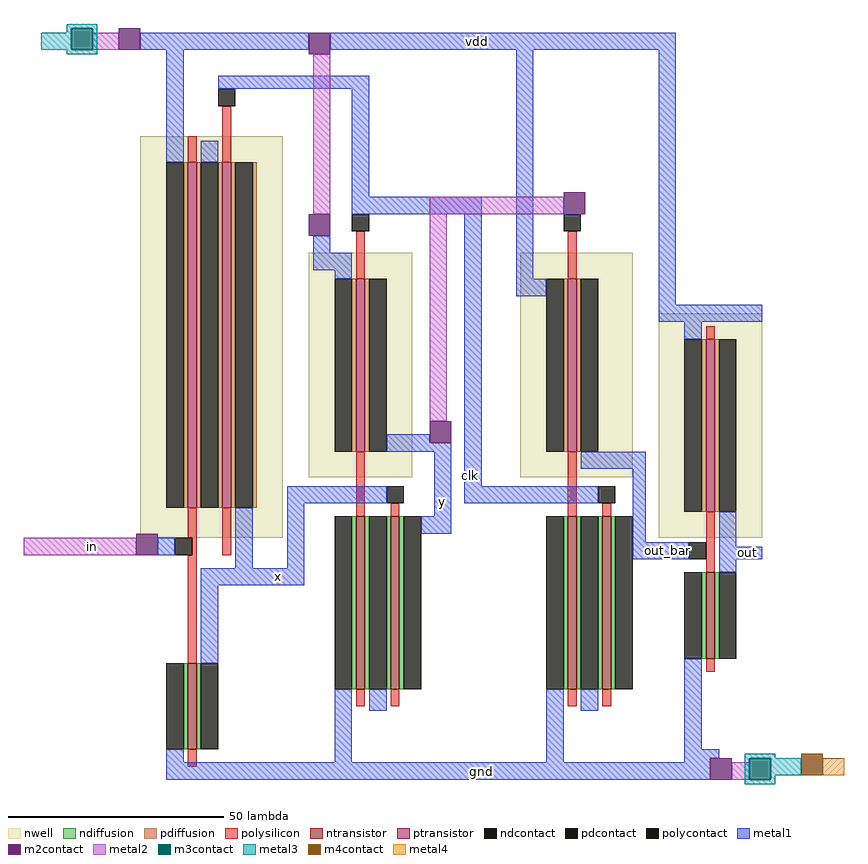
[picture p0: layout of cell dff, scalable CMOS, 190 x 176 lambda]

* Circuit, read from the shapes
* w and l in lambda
.subckt dff clk gnd in out out_bar vdd x y
M1 x in gnd VSUBS nfet w=20 l=2
M2 n1 clk gnd VSUBS nfet w=40 l=2
M3 y x n1 VSUBS nfet w=40 l=2
M4 n2 y gnd VSUBS nfet w=40 l=2
M5 out_bar clk n2 VSUBS nfet w=40 l=2
M6 out out_bar gnd VSUBS nfet w=20 l=2
M7 n3 in vdd n4 pfet w=80 l=2
M8 x clk n3 n4 pfet w=80 l=2
M9 y clk vdd n5 pfet w=40 l=2
M10 out_bar y vdd n6 pfet w=40 l=2
M11 out out_bar vdd n7 pfet w=40 l=2
.ends

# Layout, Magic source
magic
tech scmos
<< nwell >>
rect 18 -34 51 59
rect 57 -20 81 32
rect 106 -20 132 32
rect 138 -34 162 18
<< ntransistor >>
rect 29 -83 31 -63
rect 68 -69 70 -29
rect 76 -69 78 -29
rect 117 -69 119 -29
rect 125 -69 127 -29
rect 149 -62 151 -42
<< ptransistor >>
rect 29 -27 31 53
rect 37 -27 39 53
rect 68 -14 70 26
rect 117 -14 119 26
rect 149 -28 151 12
<< ndiffusion >>
rect 28 -83 29 -63
rect 31 -83 32 -63
rect 67 -69 68 -29
rect 70 -69 71 -29
rect 75 -69 76 -29
rect 78 -69 79 -29
rect 116 -69 117 -29
rect 119 -69 120 -29
rect 124 -69 125 -29
rect 127 -69 128 -29
rect 148 -62 149 -42
rect 151 -62 152 -42
<< pdiffusion >>
rect 28 -27 29 53
rect 31 -27 32 53
rect 36 -27 37 53
rect 39 -27 40 53
rect 44 -27 45 53
rect 67 -14 68 26
rect 70 -14 71 26
rect 116 -14 117 26
rect 119 -14 120 26
rect 148 -28 149 12
rect 151 -28 152 12
<< ndcontact >>
rect 24 -83 28 -63
rect 32 -83 36 -63
rect 63 -69 67 -29
rect 71 -69 75 -29
rect 79 -69 83 -29
rect 112 -69 116 -29
rect 120 -69 124 -29
rect 128 -69 132 -29
rect 144 -62 148 -42
rect 152 -62 156 -42
<< pdcontact >>
rect 24 -27 28 53
rect 32 -27 36 53
rect 40 -27 44 53
rect 63 -14 67 26
rect 71 -14 75 26
rect 112 -14 116 26
rect 120 -14 124 26
rect 144 -28 148 12
rect 152 -28 156 12
<< polysilicon >>
rect 29 53 31 59
rect 37 53 39 66
rect 68 26 70 37
rect 117 26 119 37
rect 149 12 151 15
rect 29 -34 31 -27
rect 30 -38 31 -34
rect 37 -38 39 -27
rect 68 -29 70 -14
rect 76 -29 78 -26
rect 117 -29 119 -14
rect 125 -29 127 -26
rect 29 -63 31 -38
rect 149 -42 151 -28
rect 149 -65 151 -62
rect 68 -73 70 -69
rect 76 -73 78 -69
rect 117 -73 119 -69
rect 125 -73 127 -69
rect 29 -87 31 -83
<< polycontact >>
rect 36 66 40 70
rect 67 37 71 41
rect 116 37 120 41
rect 26 -38 30 -34
rect 75 -26 79 -22
rect 124 -26 128 -22
rect 145 -39 149 -35
<< metal1 >>
rect 18 79 57 83
rect 24 53 28 79
rect 62 79 142 83
rect 36 70 71 73
rect 32 53 36 58
rect 67 45 71 70
rect 67 41 97 45
rect 58 32 62 36
rect 58 28 67 32
rect 63 26 67 28
rect 75 -12 85 -10
rect 75 -14 90 -12
rect 22 -38 26 -34
rect 40 -41 44 -27
rect 52 -26 75 -22
rect 52 -41 56 -26
rect 86 -29 90 -14
rect 93 -22 97 41
rect 105 26 109 79
rect 105 22 112 26
rect 138 20 142 79
rect 138 16 162 20
rect 144 12 148 16
rect 120 -18 135 -14
rect 93 -26 124 -22
rect 32 -45 56 -41
rect 32 -63 36 -45
rect 24 -86 28 -83
rect 63 -86 67 -69
rect 83 -33 90 -29
rect 71 -74 75 -69
rect 112 -86 116 -69
rect 132 -35 135 -18
rect 132 -39 145 -35
rect 152 -36 156 -28
rect 152 -39 162 -36
rect 152 -42 156 -39
rect 120 -74 124 -69
rect 144 -83 148 -62
rect 144 -85 152 -83
rect 144 -86 150 -85
rect 24 -90 150 -86
<< m2contact >>
rect 13 79 18 84
rect 57 78 62 83
rect 57 36 62 41
rect 85 -12 90 -7
rect 17 -38 22 -33
rect 116 41 121 46
rect 150 -90 155 -85
<< metal2 >>
rect 7 79 13 83
rect 58 41 62 78
rect 85 41 116 45
rect 85 -7 89 41
rect -9 -38 17 -34
rect 155 -90 159 -86
<< m3contact >>
rect 2 79 7 84
rect 159 -90 164 -85
<< metal3 >>
rect 1 84 8 85
rect 1 83 2 84
rect -5 79 2 83
rect 7 79 8 84
rect 1 78 8 79
rect 158 -85 165 -84
rect 158 -90 159 -85
rect 164 -89 171 -85
rect 164 -90 165 -89
rect 158 -91 165 -90
<< m4contact >>
rect 171 -89 176 -84
<< metal4 >>
rect 176 -89 181 -85
<< labels >>
rlabel metal1 90 80 102 82 5 vdd
rlabel metal1 91 -89 103 -87 1 gnd
rlabel metal1 87 -31 89 -20 1 y
rlabel metal1 48 -44 52 -42 1 x
rlabel metal2 3 -37 11 -35 1 in
rlabel metal1 157 -39 160 -36 1 out
rlabel metal1 137 -39 143 -35 1 out_bar
rlabel metal1 93 -25 96 -14 1 clk
<< end >>
